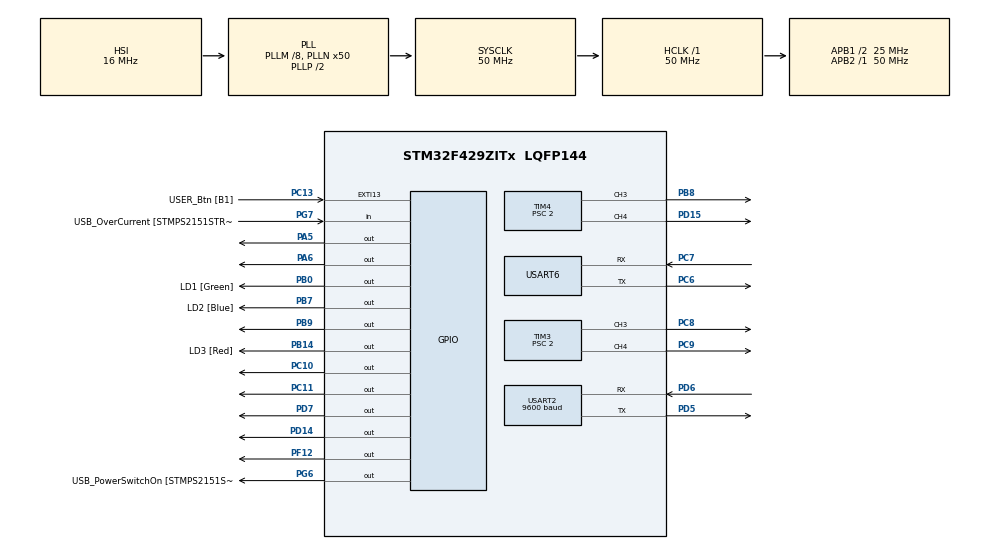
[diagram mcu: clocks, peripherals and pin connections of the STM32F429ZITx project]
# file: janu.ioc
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Mcu.Family=STM32F4
Mcu.Name=STM32F429ZITx
Mcu.Package=LQFP144
NVIC.PriorityGroup=NVIC_PRIORITYGROUP_4
NVIC.USART2_IRQn=true\:0\:0\:false\:false\:true\:true\:true\:true
NVIC.USART6_IRQn=true\:0\:0\:false\:false\:true\:true\:true\:true
PA1.GPIO_Label=RMII_REF_CLK [LAN8742A-CZ-TR_REFCLK0]
PA1.Signal=ETH_REF_CLK
PA10.GPIO_Label=USB_ID
PA10.Signal=USB_OTG_FS_ID
PA11.GPIO_Label=USB_DM
PA11.Signal=USB_OTG_FS_DM
PA12.GPIO_Label=USB_DP
PA12.Signal=USB_OTG_FS_DP
PA13.GPIO_Label=TMS
PA13.Signal=SYS_JTMS-SWDIO
PA14.GPIO_Label=TCK
PA14.Signal=SYS_JTCK-SWCLK
PA2.GPIO_Label=RMII_MDIO [LAN8742A-CZ-TR_MDIO]
PA2.Signal=ETH_MDIO
PA5.PinState=GPIO_PIN_SET
PA5.Signal=GPIO_Output
PA6.Signal=GPIO_Output
PA7.GPIO_Label=RMII_CRS_DV [LAN8742A-CZ-TR_CRS_DV]
PA7.Signal=ETH_CRS_DV
PA8.GPIO_Label=USB_SOF [TP1]
PA8.Signal=USB_OTG_FS_SOF
PA9.GPIO_Label=USB_VBUS
PA9.Signal=USB_OTG_FS_VBUS
PB0.GPIO_Label=LD1 [Green]
PB0.Signal=GPIO_Output
PB13.GPIO_Label=RMII_TXD1 [LAN8742A-CZ-TR_TXD1]
PB13.Signal=ETH_TXD1
PB14.GPIO_Label=LD3 [Red]
PB14.Signal=GPIO_Output
PB7.GPIO_Label=LD2 [Blue]
PB7.Signal=GPIO_Output
PB8.Signal=S_TIM4_CH3
PB9.PinState=GPIO_PIN_SET
PB9.Signal=GPIO_Output
PC1.GPIO_Label=RMII_MDC [LAN8742A-CZ-TR_MDC]
PC1.Signal=ETH_MDC
PC10.Signal=GPIO_Output
PC11.Signal=GPIO_Output
PC13.GPIO_Label=USER_Btn [B1]
PC13.Signal=GPXTI13
PC14/OSC32_IN.Signal=RCC_OSC32_IN
PC15/OSC32_OUT.Signal=RCC_OSC32_OUT
PC4.GPIO_Label=RMII_RXD0 [LAN8742A-CZ-TR_RXD0]
PC4.Signal=ETH_RXD0
PC5.GPIO_Label=RMII_RXD1 [LAN8742A-CZ-TR_RXD1]
PC5.Signal=ETH_RXD1
PC6.Mode=Asynchronous
PC6.Signal=USART6_TX
PC7.Mode=Asynchronous
PC7.Signal=USART6_RX
PC8.Signal=S_TIM3_CH3
PC9.Signal=S_TIM3_CH4
PD14.PinState=GPIO_PIN_SET
PD14.Signal=GPIO_Output
PD15.Signal=S_TIM4_CH4
PD5.Mode=Asynchronous
PD5.Signal=USART2_TX
PD6.Mode=Asynchronous
PD6.Signal=USART2_RX
PD7.GPIO_Speed=GPIO_SPEED_FREQ_MEDIUM
PD7.PinState=GPIO_PIN_SET
PD7.Signal=GPIO_Output
PD8.GPIO_Label=STLK_RX [STM32F103CBT6_PA3]
PD8.Signal=USART3_TX
PD9.GPIO_Label=STLK_TX [STM32F103CBT6_PA2]
PD9.Signal=USART3_RX
PF12.PinState=GPIO_PIN_SET
PF12.Signal=GPIO_Output
PG11.GPIO_Label=RMII_TX_EN [LAN8742A-CZ-TR_TXEN]
PG11.Signal=ETH_TX_EN
PG13.GPIO_Label=RMII_TXD0 [LAN8742A-CZ-TR_TXD0]
PG13.Signal=ETH_TXD0
PG6.GPIO_Label=USB_PowerSwitchOn [STMPS2151STR_EN]
PG6.Signal=GPIO_Output
PG7.GPIO_Label=USB_OverCurrent [STMPS2151STR_FAULT]
PG7.Signal=GPIO_Input
PH0/OSC_IN.GPIO_Label=MCO [STM32F103CBT6_PA8]
PH0/OSC_IN.Signal=RCC_OSC_IN
PH1/OSC_OUT.Signal=RCC_OSC_OUT
ProjectManager.HeapSize=0x200
ProjectManager.StackSize=0x400
ProjectManager.TargetToolchain=STM32CubeIDE
RCC.48MHZClocksFreq_Value=25000000
RCC.AHBFreq_Value=50000000
RCC.APB1CLKDivider=RCC_HCLK_DIV2
RCC.APB1Freq_Value=25000000
RCC.APB1TimFreq_Value=50000000
RCC.APB2Freq_Value=50000000
RCC.APB2TimFreq_Value=50000000
RCC.CortexFreq_Value=50000000
RCC.HCLKFreq_Value=50000000
RCC.HSE_VALUE=8000000
RCC.HSI_VALUE=16000000
RCC.LSE_VALUE=32768
RCC.PLLM=8
RCC.PLLMUL=RCC_PLL_MUL9
RCC.PLLN=50
RCC.PRESCALERUSB=RCC_USBCLKSOURCE_PLL_DIV1_5
RCC.SYSCLKFreq_VALUE=50000000
RCC.SYSCLKSource=RCC_SYSCLKSOURCE_PLLCLK
RCC.SYSCLKSourceVirtual=RCC_SYSCLKSOURCE_PLLCLK
RCC.USBFreq_Value=48000000
RCC.VCOOutputFreq_Value=100000000
SH.S_TIM3_CH3.0=TIM3_CH3,PWM Generation3 CH3
SH.S_TIM3_CH4.0=TIM3_CH4,PWM Generation4 CH4
SH.S_TIM4_CH3.0=TIM4_CH3,PWM Generation3 CH3
SH.S_TIM4_CH4.0=TIM4_CH4,PWM Generation4 CH4
TIM2.Period=6000
TIM2.Prescaler=2
TIM3.Channel-PWM\ Generation3\ CH3=TIM_CHANNEL_3
TIM3.Channel-PWM\ Generation4\ CH4=TIM_CHANNEL_4
TIM3.Period=20000
TIM3.Prescaler=2
TIM3.Pulse-PWM\ Generation3\ CH3=10000
TIM3.Pulse-PWM\ Generation4\ CH4=10000
TIM4.Channel-PWM\ Generation3\ CH3=TIM_CHANNEL_3
TIM4.Channel-PWM\ Generation4\ CH4=TIM_CHANNEL_4
TIM4.Period=12500
TIM4.Prescaler=2
TIM4.Pulse-PWM\ Generation3\ CH3=6000
TIM4.Pulse-PWM\ Generation4\ CH4=5500
USART2.BaudRate=9600
USART2.VirtualMode=VM_ASYNC
USART6.VirtualMode=VM_ASYNC
VP_TIM2_VS_ClockSourceINT.Mode=Internal
VP_TIM3_VS_ClockSourceINT.Mode=Internal
VP_TIM4_VS_ClockSourceINT.Mode=Internal
board=NUCLEO-F429ZI

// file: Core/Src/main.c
/* USER CODE BEGIN Header */
/**
  ******************************************************************************
  * @file           : main.c
  * @brief          : Main program body
  ******************************************************************************
  * @attention
  *
  * Copyright (c) 2023 STMicroelectronics.
  * All rights reserved.
  *
  * This software is licensed under terms that can be found in the LICENSE file
  * in the root directory of this software component.
  * If no LICENSE file comes with this software, it is provided AS-IS.
  *
  ******************************************************************************
  */
/* USER CODE END Header */
#include "main.h"

TIM_HandleTypeDef htim2;
TIM_HandleTypeDef htim3;
TIM_HandleTypeDef htim4;

UART_HandleTypeDef huart2;
UART_HandleTypeDef huart6;

/* USER CODE BEGIN PV */
char rx_data[1];
char tx_data[1];

/* USER CODE END PV */

void SystemClock_Config(void);
static void MX_GPIO_Init(void);
static void MX_TIM2_Init(void);
static void MX_TIM4_Init(void);
static void MX_TIM3_Init(void);
static void MX_USART2_UART_Init(void);
static void MX_USART6_UART_Init(void);
/* USER CODE BEGIN PFP */
void Forward();
void Backward();
void Turnleft();
void Turnright();
/* USER CODE END PFP */

int main(void)
{

  /* MCU Configuration--------------------------------------------------------*/

  /* Reset of all peripherals, Initializes the Flash interface and the Systick. */
  HAL_Init();

  /* Configure the system clock */
  SystemClock_Config();

  /* Initialize all configured peripherals */
  MX_GPIO_Init();
  MX_TIM2_Init();
  MX_TIM4_Init();
  MX_TIM3_Init();
  MX_USART2_UART_Init();
  MX_USART6_UART_Init();
  /* USER CODE BEGIN 2 */
  HAL_TIM_Base_Start(&htim4);
  HAL_TIM_Base_Start(&htim3);

  //int cnt =0;
  //HAL_GPIO_WritePin(GPIOA,GPIO_PIN_6,GPIO_PIN_SET);
  HAL_GPIO_WritePin(GPIOB,GPIO_PIN_9,GPIO_PIN_RESET);//LEFT WHEEL DIR
  HAL_GPIO_WritePin(GPIOF,GPIO_PIN_12,GPIO_PIN_SET);//RIGHT WHEEL DIR

  HAL_GPIO_WritePin(GPIOA,GPIO_PIN_5,GPIO_PIN_SET);//LEFT WHEEL EN
  HAL_GPIO_WritePin(GPIOD,GPIO_PIN_14,GPIO_PIN_SET);//RIGHT WHEEL EN
  htim4.Instance->CCR3 = 0;
  htim4.Instance->CCR4 = 0;
  HAL_Delay(1500);
  HAL_TIM_PWM_Start(&htim4, TIM_CHANNEL_3);//TIM4 CH3 -> LEFT WHEEL
  HAL_TIM_PWM_Start(&htim4, TIM_CHANNEL_4);//TIM4 CH4 -> RIGHT WHEEL

  //HAL_Delay(1500);
  //HAL_GPIO_WritePin(GPIOA,GPIO_PIN_5,GPIO_PIN_SET);
 // HAL_GPIO_WritePin(GPIOD,GPIO_PIN_14,GPIO_PIN_SET);

  HAL_UART_Receive_IT(&huart2, (uint8_t *)rx_data, 1);
  htim4.Instance->CCR3 = 2000;
  HAL_Delay(20);
  htim4.Instance->CCR4 = 2000;
  //HAL_UART_Receive_IT(huart6, (uint8_t *)rx_data, 1);
  /* USER CODE END 2 */
  Forward();
  HAL_Delay(2000);
  Backward();
  HAL_Delay(2000);
  Turnleft();
  HAL_Delay(2000);
  Turnright();
  HAL_Delay(2000);

  HAL_GPIO_WritePin(GPIOA,GPIO_PIN_5,GPIO_PIN_RESET);//LEFT WHEEL EN
  HAL_GPIO_WritePin(GPIOD,GPIO_PIN_14,GPIO_PIN_RESET);//RIGHT WHEEL EN
  /* Infinite loop */
  /* USER CODE BEGIN WHILE */
  while (1)
  {

/*
	  htim4.Instance->CCR3 = 8000;
	  htim2.Instance->CCR1 = 3000;
	  HAL_GPIO_WritePin(GPIOB,GPIO_PIN_9,GPIO_PIN_RESET);
	  HAL_GPIO_WritePin(GPIOA,GPIO_PIN_6,GPIO_PIN_SET);
	  HAL_Delay(1500);
	  HAL_GPIO_WritePin(GPIOA,GPIO_PIN_6,GPIO_PIN_RESET);
	  HAL_Delay(1500);
	  htim4.Instance->CCR3 = 8000;
	  HAL_GPIO_WritePin(GPIOB,GPIO_PIN_9,GPIO_PIN_RESET);
	  HAL_Delay(1500);
	  */
/*
	  htim4.Instance->CCR3 = 5999;
	  htim2.Instance->CCR1 = 5999;
	  HAL_Delay(400);
	  */
/*
	  htim4.Instance->CCR3 = 3000;
	  htim2.Instance->CCR1 = 3000;
	  HAL_GPIO_WritePin(GPIOB,GPIO_PIN_9,GPIO_PIN_SET);
	  HAL_GPIO_WritePin(GPIOA,GPIO_PIN_6,GPIO_PIN_SET);
	  HAL_Delay(1500);

	  	  htim4.Instance->CCR3 = 5999;
	  	  htim2.Instance->CCR1 = 5999;
	  	  HAL_Delay(400);

	  htim2.Instance->CCR1 = 3000;
	  htim4.Instance->CCR3 = 1000;
	  HAL_GPIO_WritePin(GPIOB,GPIO_PIN_9,GPIO_PIN_RESET);
	  HAL_GPIO_WritePin(GPIOA,GPIO_PIN_6,GPIO_PIN_RESET);
	  HAL_Delay(1500);

	  htim4.Instance->CCR3 = 5999;
	  	  	  htim2.Instance->CCR1 = 5999;
	  	  	  HAL_Delay(400);

	  htim4.Instance->CCR3 = 1000;
	  htim2.Instance->CCR1 = 3000;
	  HAL_GPIO_WritePin(GPIOB,GPIO_PIN_9,GPIO_PIN_RESET);
	  HAL_GPIO_WritePin(GPIOA,GPIO_PIN_6,GPIO_PIN_RESET);
	  HAL_Delay(1500);

	  htim4.Instance->CCR3 = 5999;
	  	  	  	  htim2.Instance->CCR1 = 5999;
	  	  	  	  HAL_Delay(400);
	  	  	  	  */

    /* USER CODE END WHILE */

    /* USER CODE BEGIN 3 */
	  /*
	  if(cnt==0)
	  {
		  HAL_Delay(5000);
		  cnt++;
		  HAL_GPIO_WritePin(GPIOA,GPIO_PIN_5,GPIO_PIN_SET);
	  }
	  else if(cnt == 1)
	  {
		  HAL_Delay(5000);
		  cnt++;
		  HAL_GPIO_WritePin(GPIOD,GPIO_PIN_14,GPIO_PIN_SET);
	  }

	  HAL_Delay(5000);
	  cnt++;
	  if(cnt ==1)
	  {
		  HAL_GPIO_WritePin(GPIOA,GPIO_PIN_5,GPIO_PIN_RESET);
		    HAL_GPIO_WritePin(GPIOD,GPIO_PIN_14,GPIO_PIN_RESET);
	  }
	  */

  }
  /* USER CODE END 3 */
}

void SystemClock_Config(void)
{
  RCC_OscInitTypeDef RCC_OscInitStruct = {0};
  RCC_ClkInitTypeDef RCC_ClkInitStruct = {0};

  /** Configure the main internal regulator output voltage
  */
  __HAL_RCC_PWR_CLK_ENABLE();
  __HAL_PWR_VOLTAGESCALING_CONFIG(PWR_REGULATOR_VOLTAGE_SCALE3);

  /** Initializes the RCC Oscillators according to the specified parameters
  * in the RCC_OscInitTypeDef structure.
  */
  RCC_OscInitStruct.OscillatorType = RCC_OSCILLATORTYPE_HSI;
  RCC_OscInitStruct.HSIState = RCC_HSI_ON;
  RCC_OscInitStruct.HSICalibrationValue = RCC_HSICALIBRATION_DEFAULT;
  RCC_OscInitStruct.PLL.PLLState = RCC_PLL_ON;
  RCC_OscInitStruct.PLL.PLLSource = RCC_PLLSOURCE_HSI;
  RCC_OscInitStruct.PLL.PLLM = 8;
  RCC_OscInitStruct.PLL.PLLN = 50;
  RCC_OscInitStruct.PLL.PLLP = RCC_PLLP_DIV2;
  RCC_OscInitStruct.PLL.PLLQ = 4;
  if (HAL_RCC_OscConfig(&RCC_OscInitStruct) != HAL_OK)
  {
    Error_Handler();
  }

  /** Initializes the CPU, AHB and APB buses clocks
  */
  RCC_ClkInitStruct.ClockType = RCC_CLOCKTYPE_HCLK|RCC_CLOCKTYPE_SYSCLK
                              |RCC_CLOCKTYPE_PCLK1|RCC_CLOCKTYPE_PCLK2;
  RCC_ClkInitStruct.SYSCLKSource = RCC_SYSCLKSOURCE_PLLCLK;
  RCC_ClkInitStruct.AHBCLKDivider = RCC_SYSCLK_DIV1;
  RCC_ClkInitStruct.APB1CLKDivider = RCC_HCLK_DIV2;
  RCC_ClkInitStruct.APB2CLKDivider = RCC_HCLK_DIV1;

  if (HAL_RCC_ClockConfig(&RCC_ClkInitStruct, FLASH_LATENCY_1) != HAL_OK)
  {
    Error_Handler();
  }
}

static void MX_TIM2_Init(void)
{

  TIM_ClockConfigTypeDef sClockSourceConfig = {0};
  TIM_MasterConfigTypeDef sMasterConfig = {0};

  htim2.Instance = TIM2;
  htim2.Init.Prescaler = 2;
  htim2.Init.CounterMode = TIM_COUNTERMODE_UP;
  htim2.Init.Period = 6000;
  htim2.Init.ClockDivision = TIM_CLOCKDIVISION_DIV1;
  htim2.Init.AutoReloadPreload = TIM_AUTORELOAD_PRELOAD_DISABLE;
  if (HAL_TIM_Base_Init(&htim2) != HAL_OK)
  {
    Error_Handler();
  }
  sClockSourceConfig.ClockSource = TIM_CLOCKSOURCE_INTERNAL;
  if (HAL_TIM_ConfigClockSource(&htim2, &sClockSourceConfig) != HAL_OK)
  {
    Error_Handler();
  }
  sMasterConfig.MasterOutputTrigger = TIM_TRGO_RESET;
  sMasterConfig.MasterSlaveMode = TIM_MASTERSLAVEMODE_DISABLE;
  if (HAL_TIMEx_MasterConfigSynchronization(&htim2, &sMasterConfig) != HAL_OK)
  {
    Error_Handler();
  }

}

static void MX_TIM3_Init(void)
{

  TIM_ClockConfigTypeDef sClockSourceConfig = {0};
  TIM_MasterConfigTypeDef sMasterConfig = {0};
  TIM_OC_InitTypeDef sConfigOC = {0};

  htim3.Instance = TIM3;
  htim3.Init.Prescaler = 2;
  htim3.Init.CounterMode = TIM_COUNTERMODE_UP;
  htim3.Init.Period = 20000;
  htim3.Init.ClockDivision = TIM_CLOCKDIVISION_DIV1;
  htim3.Init.AutoReloadPreload = TIM_AUTORELOAD_PRELOAD_DISABLE;
  if (HAL_TIM_Base_Init(&htim3) != HAL_OK)
  {
    Error_Handler();
  }
  sClockSourceConfig.ClockSource = TIM_CLOCKSOURCE_INTERNAL;
  if (HAL_TIM_ConfigClockSource(&htim3, &sClockSourceConfig) != HAL_OK)
  {
    Error_Handler();
  }
  if (HAL_TIM_PWM_Init(&htim3) != HAL_OK)
  {
    Error_Handler();
  }
  sMasterConfig.MasterOutputTrigger = TIM_TRGO_RESET;
  sMasterConfig.MasterSlaveMode = TIM_MASTERSLAVEMODE_DISABLE;
  if (HAL_TIMEx_MasterConfigSynchronization(&htim3, &sMasterConfig) != HAL_OK)
  {
    Error_Handler();
  }
  sConfigOC.OCMode = TIM_OCMODE_PWM1;
  sConfigOC.Pulse = 10000;
  sConfigOC.OCPolarity = TIM_OCPOLARITY_HIGH;
  sConfigOC.OCFastMode = TIM_OCFAST_DISABLE;
  if (HAL_TIM_PWM_ConfigChannel(&htim3, &sConfigOC, TIM_CHANNEL_3) != HAL_OK)
  {
    Error_Handler();
  }
  if (HAL_TIM_PWM_ConfigChannel(&htim3, &sConfigOC, TIM_CHANNEL_4) != HAL_OK)
  {
    Error_Handler();
  }
  HAL_TIM_MspPostInit(&htim3);

}

static void MX_TIM4_Init(void)
{

  TIM_ClockConfigTypeDef sClockSourceConfig = {0};
  TIM_MasterConfigTypeDef sMasterConfig = {0};
  TIM_OC_InitTypeDef sConfigOC = {0};

  htim4.Instance = TIM4;
  htim4.Init.Prescaler = 2;
  htim4.Init.CounterMode = TIM_COUNTERMODE_UP;
  htim4.Init.Period = 12500;
  htim4.Init.ClockDivision = TIM_CLOCKDIVISION_DIV1;
  htim4.Init.AutoReloadPreload = TIM_AUTORELOAD_PRELOAD_DISABLE;
  if (HAL_TIM_Base_Init(&htim4) != HAL_OK)
  {
    Error_Handler();
  }
  sClockSourceConfig.ClockSource = TIM_CLOCKSOURCE_INTERNAL;
  if (HAL_TIM_ConfigClockSource(&htim4, &sClockSourceConfig) != HAL_OK)
  {
    Error_Handler();
  }
  if (HAL_TIM_PWM_Init(&htim4) != HAL_OK)
  {
    Error_Handler();
  }
  sMasterConfig.MasterOutputTrigger = TIM_TRGO_RESET;
  sMasterConfig.MasterSlaveMode = TIM_MASTERSLAVEMODE_DISABLE;
  if (HAL_TIMEx_MasterConfigSynchronization(&htim4, &sMasterConfig) != HAL_OK)
  {
    Error_Handler();
  }
  sConfigOC.OCMode = TIM_OCMODE_PWM1;
  sConfigOC.Pulse = 2000;
  sConfigOC.OCPolarity = TIM_OCPOLARITY_HIGH;
  sConfigOC.OCFastMode = TIM_OCFAST_DISABLE;
  if (HAL_TIM_PWM_ConfigChannel(&htim4, &sConfigOC, TIM_CHANNEL_3) != HAL_OK)
  {
    Error_Handler();
  }
  sConfigOC.Pulse = 5500;
  if (HAL_TIM_PWM_ConfigChannel(&htim4, &sConfigOC, TIM_CHANNEL_4) != HAL_OK)
  {
    Error_Handler();
  }
  HAL_TIM_MspPostInit(&htim4);

}

static void MX_USART2_UART_Init(void)
{

  huart2.Instance = USART2;
  huart2.Init.BaudRate = 9600;
  huart2.Init.WordLength = UART_WORDLENGTH_8B;
  huart2.Init.StopBits = UART_STOPBITS_1;
  huart2.Init.Parity = UART_PARITY_NONE;
  huart2.Init.Mode = UART_MODE_TX_RX;
  huart2.Init.HwFlowCtl = UART_HWCONTROL_NONE;
  huart2.Init.OverSampling = UART_OVERSAMPLING_16;
  if (HAL_UART_Init(&huart2) != HAL_OK)
  {
    Error_Handler();
  }

}

static void MX_USART6_UART_Init(void)
{

  huart6.Instance = USART6;
  huart6.Init.BaudRate = 115200;
  huart6.Init.WordLength = UART_WORDLENGTH_8B;
  huart6.Init.StopBits = UART_STOPBITS_1;
  huart6.Init.Parity = UART_PARITY_NONE;
  huart6.Init.Mode = UART_MODE_TX_RX;
  huart6.Init.HwFlowCtl = UART_HWCONTROL_NONE;
  huart6.Init.OverSampling = UART_OVERSAMPLING_16;
  if (HAL_UART_Init(&huart6) != HAL_OK)
  {
    Error_Handler();
  }

}

static void MX_GPIO_Init(void)
{
  GPIO_InitTypeDef GPIO_InitStruct = {0};

  /* GPIO Ports Clock Enable */
  __HAL_RCC_GPIOC_CLK_ENABLE();
  __HAL_RCC_GPIOH_CLK_ENABLE();
  __HAL_RCC_GPIOA_CLK_ENABLE();
  __HAL_RCC_GPIOB_CLK_ENABLE();
  __HAL_RCC_GPIOF_CLK_ENABLE();
  __HAL_RCC_GPIOD_CLK_ENABLE();
  __HAL_RCC_GPIOG_CLK_ENABLE();

  /*Configure GPIO pin Output Level */
  HAL_GPIO_WritePin(GPIOA, GPIO_PIN_5, GPIO_PIN_SET);

  /*Configure GPIO pin Output Level */
  HAL_GPIO_WritePin(GPIOA, GPIO_PIN_6, GPIO_PIN_RESET);

  /*Configure GPIO pin Output Level */
  HAL_GPIO_WritePin(GPIOB, LD1_Pin|LD3_Pin|LD2_Pin, GPIO_PIN_RESET);

  /*Configure GPIO pin Output Level */
  HAL_GPIO_WritePin(GPIOF, GPIO_PIN_12, GPIO_PIN_SET);

  /*Configure GPIO pin Output Level */
  HAL_GPIO_WritePin(GPIOD, GPIO_PIN_14|GPIO_PIN_7, GPIO_PIN_SET);

  /*Configure GPIO pin Output Level */
  HAL_GPIO_WritePin(USB_PowerSwitchOn_GPIO_Port, USB_PowerSwitchOn_Pin, GPIO_PIN_RESET);

  /*Configure GPIO pin Output Level */
  HAL_GPIO_WritePin(GPIOC, GPIO_PIN_10|GPIO_PIN_11, GPIO_PIN_RESET);

  /*Configure GPIO pin Output Level */
  HAL_GPIO_WritePin(GPIOB, GPIO_PIN_9, GPIO_PIN_SET);

  /*Configure GPIO pin : USER_Btn_Pin */
  GPIO_InitStruct.Pin = USER_Btn_Pin;
  GPIO_InitStruct.Mode = GPIO_MODE_IT_RISING;
  GPIO_InitStruct.Pull = GPIO_NOPULL;
  HAL_GPIO_Init(USER_Btn_GPIO_Port, &GPIO_InitStruct);

  /*Configure GPIO pins : RMII_MDC_Pin RMII_RXD0_Pin RMII_RXD1_Pin */
  GPIO_InitStruct.Pin = RMII_MDC_Pin|RMII_RXD0_Pin|RMII_RXD1_Pin;
  GPIO_InitStruct.Mode = GPIO_MODE_AF_PP;
  GPIO_InitStruct.Pull = GPIO_NOPULL;
  GPIO_InitStruct.Speed = GPIO_SPEED_FREQ_VERY_HIGH;
  GPIO_InitStruct.Alternate = GPIO_AF11_ETH;
  HAL_GPIO_Init(GPIOC, &GPIO_InitStruct);

  /*Configure GPIO pins : RMII_REF_CLK_Pin RMII_MDIO_Pin RMII_CRS_DV_Pin */
  GPIO_InitStruct.Pin = RMII_REF_CLK_Pin|RMII_MDIO_Pin|RMII_CRS_DV_Pin;
  GPIO_InitStruct.Mode = GPIO_MODE_AF_PP;
  GPIO_InitStruct.Pull = GPIO_NOPULL;
  GPIO_InitStruct.Speed = GPIO_SPEED_FREQ_VERY_HIGH;
  GPIO_InitStruct.Alternate = GPIO_AF11_ETH;
  HAL_GPIO_Init(GPIOA, &GPIO_InitStruct);

  /*Configure GPIO pins : PA5 PA6 */
  GPIO_InitStruct.Pin = GPIO_PIN_5|GPIO_PIN_6;
  GPIO_InitStruct.Mode = GPIO_MODE_OUTPUT_PP;
  GPIO_InitStruct.Pull = GPIO_NOPULL;
  GPIO_InitStruct.Speed = GPIO_SPEED_FREQ_LOW;
  HAL_GPIO_Init(GPIOA, &GPIO_InitStruct);

  /*Configure GPIO pins : LD1_Pin LD3_Pin LD2_Pin PB9 */
  GPIO_InitStruct.Pin = LD1_Pin|LD3_Pin|LD2_Pin|GPIO_PIN_9;
  GPIO_InitStruct.Mode = GPIO_MODE_OUTPUT_PP;
  GPIO_InitStruct.Pull = GPIO_NOPULL;
  GPIO_InitStruct.Speed = GPIO_SPEED_FREQ_LOW;
  HAL_GPIO_Init(GPIOB, &GPIO_InitStruct);

  /*Configure GPIO pin : PF12 */
  GPIO_InitStruct.Pin = GPIO_PIN_12;
  GPIO_InitStruct.Mode = GPIO_MODE_OUTPUT_PP;
  GPIO_InitStruct.Pull = GPIO_NOPULL;
  GPIO_InitStruct.Speed = GPIO_SPEED_FREQ_LOW;
  HAL_GPIO_Init(GPIOF, &GPIO_InitStruct);

  /*Configure GPIO pin : RMII_TXD1_Pin */
  GPIO_InitStruct.Pin = RMII_TXD1_Pin;
  GPIO_InitStruct.Mode = GPIO_MODE_AF_PP;
  GPIO_InitStruct.Pull = GPIO_NOPULL;
  GPIO_InitStruct.Speed = GPIO_SPEED_FREQ_VERY_HIGH;
  GPIO_InitStruct.Alternate = GPIO_AF11_ETH;
  HAL_GPIO_Init(RMII_TXD1_GPIO_Port, &GPIO_InitStruct);

  /*Configure GPIO pins : STLK_RX_Pin STLK_TX_Pin */
  GPIO_InitStruct.Pin = STLK_RX_Pin|STLK_TX_Pin;
  GPIO_InitStruct.Mode = GPIO_MODE_AF_PP;
  GPIO_InitStruct.Pull = GPIO_NOPULL;
  GPIO_InitStruct.Speed = GPIO_SPEED_FREQ_VERY_HIGH;
  GPIO_InitStruct.Alternate = GPIO_AF7_USART3;
  HAL_GPIO_Init(GPIOD, &GPIO_InitStruct);

  /*Configure GPIO pin : PD14 */
  GPIO_InitStruct.Pin = GPIO_PIN_14;
  GPIO_InitStruct.Mode = GPIO_MODE_OUTPUT_PP;
  GPIO_InitStruct.Pull = GPIO_NOPULL;
  GPIO_InitStruct.Speed = GPIO_SPEED_FREQ_LOW;
  HAL_GPIO_Init(GPIOD, &GPIO_InitStruct);

  /*Configure GPIO pin : USB_PowerSwitchOn_Pin */
  GPIO_InitStruct.Pin = USB_PowerSwitchOn_Pin;
  GPIO_InitStruct.Mode = GPIO_MODE_OUTPUT_PP;
  GPIO_InitStruct.Pull = GPIO_NOPULL;
  GPIO_InitStruct.Speed = GPIO_SPEED_FREQ_LOW;
  HAL_GPIO_Init(USB_PowerSwitchOn_GPIO_Port, &GPIO_InitStruct);

  /*Configure GPIO pin : USB_OverCurrent_Pin */
  GPIO_InitStruct.Pin = USB_OverCurrent_Pin;
  GPIO_InitStruct.Mode = GPIO_MODE_INPUT;
  GPIO_InitStruct.Pull = GPIO_NOPULL;
  HAL_GPIO_Init(USB_OverCurrent_GPIO_Port, &GPIO_InitStruct);

  /*Configure GPIO pins : USB_SOF_Pin USB_ID_Pin USB_DM_Pin USB_DP_Pin */
  GPIO_InitStruct.Pin = USB_SOF_Pin|USB_ID_Pin|USB_DM_Pin|USB_DP_Pin;
  GPIO_InitStruct.Mode = GPIO_MODE_AF_PP;
  GPIO_InitStruct.Pull = GPIO_NOPULL;
  GPIO_InitStruct.Speed = GPIO_SPEED_FREQ_VERY_HIGH;
  GPIO_InitStruct.Alternate = GPIO_AF10_OTG_FS;
  HAL_GPIO_Init(GPIOA, &GPIO_InitStruct);

  /*Configure GPIO pin : USB_VBUS_Pin */
  GPIO_InitStruct.Pin = USB_VBUS_Pin;
  GPIO_InitStruct.Mode = GPIO_MODE_INPUT;
  GPIO_InitStruct.Pull = GPIO_NOPULL;
  HAL_GPIO_Init(USB_VBUS_GPIO_Port, &GPIO_InitStruct);

  /*Configure GPIO pins : PC10 PC11 */
  GPIO_InitStruct.Pin = GPIO_PIN_10|GPIO_PIN_11;
  GPIO_InitStruct.Mode = GPIO_MODE_OUTPUT_PP;
  GPIO_InitStruct.Pull = GPIO_NOPULL;
  GPIO_InitStruct.Speed = GPIO_SPEED_FREQ_LOW;
  HAL_GPIO_Init(GPIOC, &GPIO_InitStruct);

  /*Configure GPIO pin : PD7 */
  GPIO_InitStruct.Pin = GPIO_PIN_7;
  GPIO_InitStruct.Mode = GPIO_MODE_OUTPUT_PP;
  GPIO_InitStruct.Pull = GPIO_NOPULL;
  GPIO_InitStruct.Speed = GPIO_SPEED_FREQ_MEDIUM;
  HAL_GPIO_Init(GPIOD, &GPIO_InitStruct);

  /*Configure GPIO pins : RMII_TX_EN_Pin RMII_TXD0_Pin */
  GPIO_InitStruct.Pin = RMII_TX_EN_Pin|RMII_TXD0_Pin;
  GPIO_InitStruct.Mode = GPIO_MODE_AF_PP;
  GPIO_InitStruct.Pull = GPIO_NOPULL;
  GPIO_InitStruct.Speed = GPIO_SPEED_FREQ_VERY_HIGH;
  GPIO_InitStruct.Alternate = GPIO_AF11_ETH;
  HAL_GPIO_Init(GPIOG, &GPIO_InitStruct);

}

/* USER CODE BEGIN 4 */
void HAL_UART_RxCpltCallback(UART_HandleTypeDef *huart)
{
  if (huart == &huart2) // if USART2 receives data
  {
    tx_data[0] = rx_data[0];
    HAL_UART_Transmit_IT(&huart2, (uint8_t *)tx_data, 1); // transmit data to USART6
   // Drive(rx_data[0]);

  }
  else if (huart == &huart6) // if USART6 receives data
  {
    // do something else with received data
	tx_data[0] = rx_data[0];
	HAL_UART_Transmit_IT(&huart2, (uint8_t *)tx_data, 1); // transmit data to USART6
  }

  HAL_UART_Receive_IT(huart, (uint8_t *)rx_data, 1); // start listening again
}

void Forward()
{
	htim4.Instance->CCR3 = 2000;
	HAL_Delay(20);
	htim4.Instance->CCR4 = 2000;

	HAL_GPIO_WritePin(GPIOB,GPIO_PIN_9,GPIO_PIN_RESET);//LEFT WHEEL DIR
	HAL_GPIO_WritePin(GPIOF,GPIO_PIN_12,GPIO_PIN_SET);//RIGHT WHEEL DIR
}
void Backward()
{
	htim4.Instance->CCR3 = 2000;
	HAL_Delay(20);
	htim4.Instance->CCR4 = 2000;

	HAL_GPIO_WritePin(GPIOB,GPIO_PIN_9,GPIO_PIN_SET);//LEFT WHEEL DIR
	HAL_GPIO_WritePin(GPIOF,GPIO_PIN_12,GPIO_PIN_RESET);//RIGHT WHEEL DIR
}
void Turnleft()
{
	HAL_GPIO_WritePin(GPIOB,GPIO_PIN_9,GPIO_PIN_RESET);//LEFT WHEEL DIR
	HAL_GPIO_WritePin(GPIOF,GPIO_PIN_12,GPIO_PIN_SET);//RIGHT WHEEL DIR
	htim4.Instance->CCR3 = 1000;
	HAL_Delay(20);
	htim4.Instance->CCR4 = 2000;
}
void Turnright()
{
	HAL_GPIO_WritePin(GPIOB,GPIO_PIN_9,GPIO_PIN_RESET);//LEFT WHEEL DIR
	HAL_GPIO_WritePin(GPIOF,GPIO_PIN_12,GPIO_PIN_SET);//RIGHT WHEEL DIR
	htim4.Instance->CCR3 = 2000;
	HAL_Delay(20);
	htim4.Instance->CCR4 = 1000;
}

/* USER CODE END 4 */

void Error_Handler(void)
{
  __disable_irq();
  while (1)
  {
  }
}
